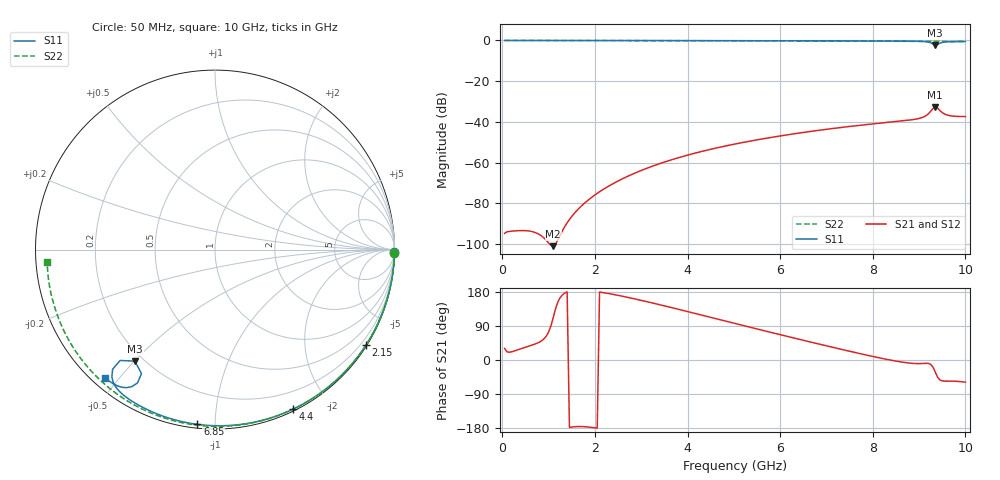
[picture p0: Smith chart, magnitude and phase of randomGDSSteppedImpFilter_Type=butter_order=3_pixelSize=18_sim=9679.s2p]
! freq	dB(S11)	phase(S11)	dB(S12)	phase(S12)
!  dB(S21)	phase(S21)	dB(S22)	phase(S22)
!S-par simulation data
#  GHz  S  DB  R 50
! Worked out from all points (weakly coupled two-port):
!   200 points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, 50 MHz to 10 GHz, reference 50 ohm
!   highest |S21| = -32.62 dB at 9.35 GHz (marker M1); lowest = -101.0 dB at 1.1 GHz (marker M2)
!   lowest |S11| = -2.3 dB at 9.35 GHz (marker M3), VSWR 7.50, Z = 8.38 - j25.1 ohm
!   |S11| at or under -10 dB: nowhere
!   |S22| runs from -0.6 to 0.0 dB; largest |S21 - S12| = 0
!   S11 on the Smith chart (normalised r, x): 50 MHz: open; 2.15 GHz: 0.03, -3.45; 4.4 GHz: 0.02, -1.60; 6.85 GHz: 0.02, -0.90; 10 GHz: 0.04, -0.46
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0.05  -0.00 -0.8  -94.67 30.6  -94.67 30.6  -0.00 -1.0
0.55  -0.01 -8.4  -93.43 35.6  -93.43 35.6  -0.01 -11.3
1.1  -0.02 -16.7  -100.95 112.0  -100.95 112.0  -0.03 -22.5
1.75  -0.03 -26.4  -80.36 -175.8  -80.36 -175.8  -0.05 -35.4
2.15  -0.04 -32.3  -73.51 178.4  -73.51 178.4  -0.06 -43.2
2.7  -0.05 -40.3  -66.75 165.6  -66.75 165.6  -0.07 -53.8
3.4  -0.07 -50.3  -60.44 145.9  -60.44 145.9  -0.09 -66.9
4.4  -0.09 -64.1  -53.94 115.6  -53.94 115.6  -0.12 -84.8
5.05  -0.11 -72.8  -50.70 95.6  -50.70 95.6  -0.15 -96.0
5.85  -0.14 -83.2  -47.41 71.4  -47.41 71.4  -0.19 -109.3
6.7  -0.18 -93.9  -44.50 46.1  -44.50 46.1  -0.24 -123.0
6.85  -0.19 -95.7  -44.04 41.7  -44.04 41.7  -0.25 -125.4
8.35  -0.29 -114.3  -40.15 0.5  -40.15 0.5  -0.38 -149.1
9.05  -0.45 -124.8  -37.94 -9.4  -37.94 -9.4  -0.45 -160.3
9.15  -0.60 -127.4  -36.89 -8.7  -36.89 -8.7  -0.46 -161.9
9.25  -1.14 -130.6  -34.77 -11.2  -34.77 -11.2  -0.47 -163.5
9.3  -1.79 -130.6  -33.37 -18.5  -33.37 -18.5  -0.48 -164.3
9.35  -2.33 -125.7  -32.62 -32.1  -32.62 -32.1  -0.48 -165.1
9.4  -1.90 -120.7  -33.22 -45.5  -33.22 -45.5  -0.49 -165.9
9.5  -0.97 -121.3  -35.40 -55.1  -35.40 -55.1  -0.50 -167.6
9.7  -0.59 -125.8  -37.04 -55.7  -37.04 -55.7  -0.52 -170.9
10  -0.53 -130.5  -37.33 -58.4  -37.33 -58.4  -0.56 -175.9
